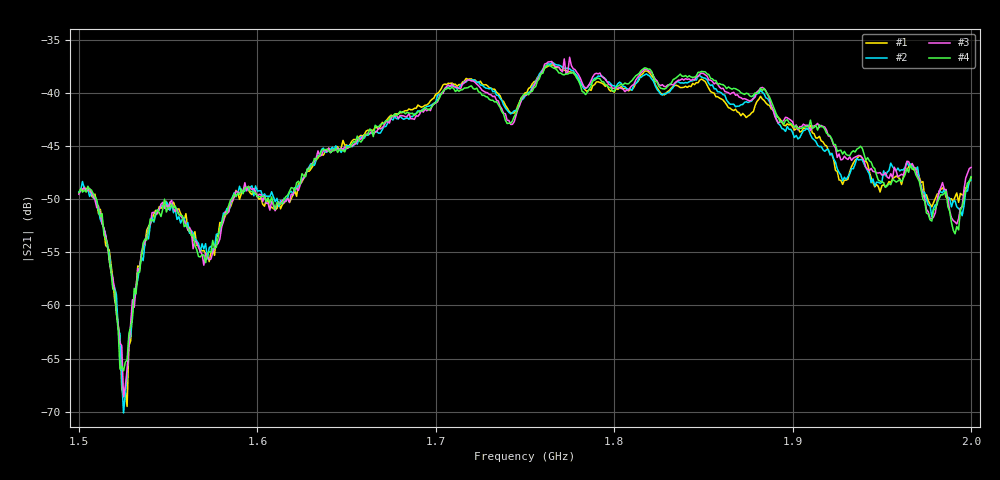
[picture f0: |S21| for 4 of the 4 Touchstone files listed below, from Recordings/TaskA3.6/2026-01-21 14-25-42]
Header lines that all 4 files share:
! NanoVNA-App by SYSJOINT et al v1.1.209 (+OD18)
! Start: 1,5GHz Stop: 2GHz Points: 501
! S-Parameter data: F S11 S21 S12 S22
# Hz S RI R 50
!  Frequency  S11_Real  S11_Imag  S21_Real  S21_Imag  S12_Real  S12_Imag  S22_Real  S22_Imag
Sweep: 1.5 GHz to 2 GHz
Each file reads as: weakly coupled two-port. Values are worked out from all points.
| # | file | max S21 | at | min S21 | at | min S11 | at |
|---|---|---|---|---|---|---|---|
| 1 | 0.s2p | -37.34 dB | 1.764 GHz | -69.5 dB | 1.527 GHz | -30.7 dB | 1.817 GHz |
| 2 | 1.s2p | -37.17 dB | 1.766 GHz | -70.1 dB | 1.525 GHz | -30.7 dB | 1.817 GHz |
| 3 | 2.s2p | -36.63 dB | 1.775 GHz | -68.6 dB | 1.525 GHz | -30.8 dB | 1.816 GHz |
| 4 | 3.s2p | -37.39 dB | 1.762 GHz | -66.2 dB | 1.525 GHz | -30.0 dB | 1.817 GHz |
